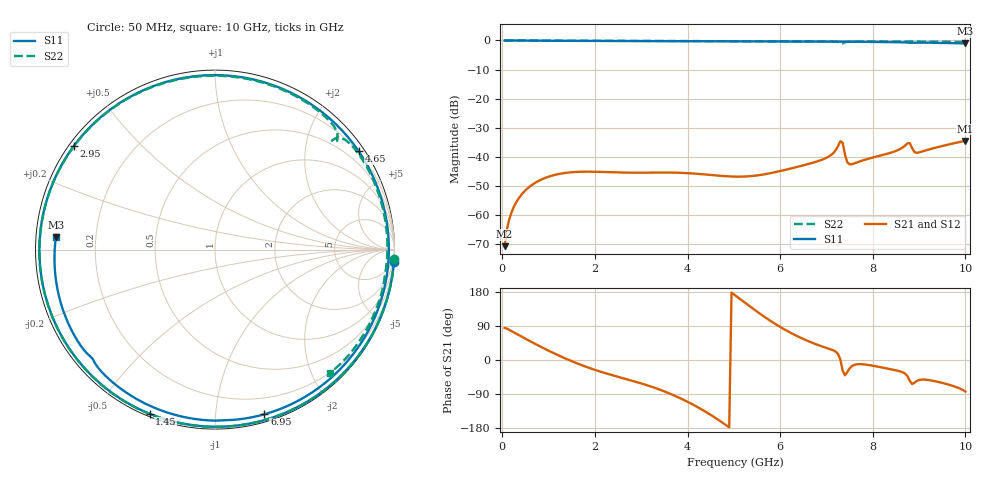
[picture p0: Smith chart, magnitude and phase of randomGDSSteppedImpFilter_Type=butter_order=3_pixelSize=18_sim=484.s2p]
! freq	dB(S11)	phase(S11)	dB(S12)	phase(S12)
!  dB(S21)	phase(S21)	dB(S22)	phase(S22)
!S-par simulation data
#  GHz  S  DB  R 50
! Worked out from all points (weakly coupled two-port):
!   200 points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, 50 MHz to 10 GHz, reference 50 ohm
!   highest |S21| = -34.61 dB at 10 GHz (marker M1); lowest = -70.7 dB at 50 MHz (marker M2)
!   lowest |S11| = -1.0 dB at 10 GHz (marker M3), VSWR 17.09, Z = 2.93 + j1.92 ohm
!   |S11| at or under -10 dB: nowhere
!   |S22| runs from -1.0 to 0.0 dB; largest |S21 - S12| = 0
!   S11 on the Smith chart (normalised r, x): 50 MHz: 0, -28; 1.45 GHz: 0.01, -0.68; 2.95 GHz: 0.01, +0.33; 4.65 GHz: 0.17, +3.23; 6.95 GHz: 0.06, -1.34; 10 GHz: 0.06, +0.04
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0.05  -0.00 -4.0  -70.74 84.6  -70.74 84.6  -0.00 -2.9
0.1  -0.01 -8.1  -64.96 82.8  -64.96 82.8  -0.01 -5.8
0.2  -0.02 -16.0  -59.09 76.3  -59.09 76.3  -0.02 -11.5
0.45  -0.05 -35.8  -52.37 59.5  -52.37 59.5  -0.03 -25.6
0.95  -0.10 -74.5  -47.12 27.6  -47.12 27.6  -0.07 -53.2
1.45  -0.13 -111.7  -45.38 -0.6  -45.38 -0.6  -0.10 -79.2
1.75  -0.15 -133.3  -45.13 -15.3  -45.13 -15.3  -0.11 -93.9
2.35  -0.19 -175.4  -45.33 -39.2  -45.33 -39.2  -0.13 -121.6
2.95  -0.21 143.5  -45.47 -59.9  -45.47 -59.9  -0.16 -147.2
3.4  -0.23 113.2  -45.41 -78.2  -45.41 -78.2  -0.17 -165.4
4  -0.25 74.0  -45.63 -110.2  -45.63 -110.2  -0.20 171.1
4.65  -0.26 34.4  -46.47 -156.6  -46.47 -156.6  -0.22 146.0
5.05  -0.27 12.0  -46.83 168.7  -46.83 168.7  -0.24 130.6
5.75  -0.29 -23.2  -45.76 106.5  -45.76 106.5  -0.26 103.5
6.7  -0.35 -63.7  -42.07 45.0  -42.07 45.0  -0.29 66.4
6.95  -0.37 -73.3  -40.72 33.8  -40.72 33.8  -0.31 56.5
7.3  -0.42 -86.1  -34.65 1.1  -34.65 1.1  -0.81 41.6
7.5  -0.43 -93.2  -42.61 -22.1  -42.61 -22.1  -0.39 37.9
8.35  -0.56 -122.5  -38.79 -23.4  -38.79 -23.4  -0.34 5.8
8.75  -0.72 -136.6  -35.36 -42.8  -35.36 -42.8  -0.38 -7.9
8.95  -0.73 -142.8  -38.65 -55.3  -38.65 -55.3  -0.36 -14.5
10  -1.02 175.6  -34.61 -83.3  -34.61 -83.3  -0.56 -47.1
